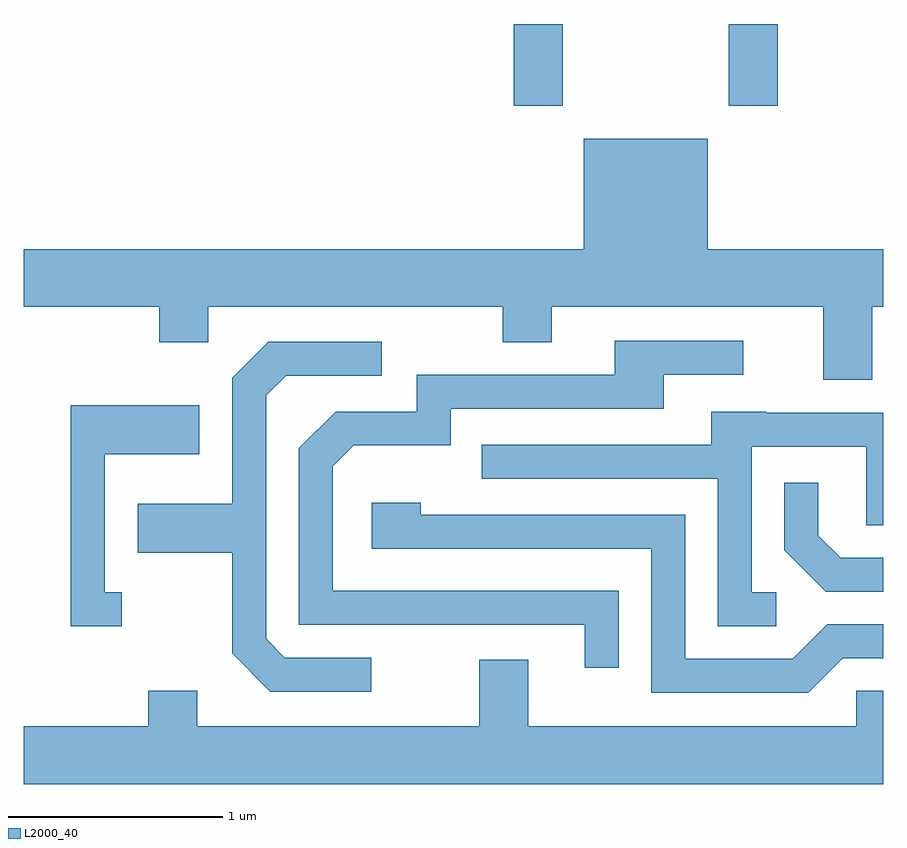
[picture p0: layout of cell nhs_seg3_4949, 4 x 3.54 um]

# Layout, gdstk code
import gdstk
lib = gdstk.Library(unit=1e-6, precision=1e-09)
def R(c, l, rs):  # rectangles x0, y0, x1, y1
    for r in rs: c.add(gdstk.rectangle(r[:2], r[2:], *l))
def P(c, l, *ps):  # polygons
    for p in ps: c.add(gdstk.Polygon(p, *l))
L2000_40 = (2000, 40)

nhs_seg3_4949 = lib.new_cell('nhs_seg3_4949')
R(nhs_seg3_4949, L2000_40, [(331.891,1233.511,332.119,1233.892), (332.891,1233.511,333.119,1233.892)])
P(nhs_seg3_4949, L2000_40, [(333.559,1232.576),(333.611,1232.576),(333.611,1232.844),(332.794,1232.844),(332.794,1233.359),(332.216,1233.359),(332.216,1232.844),(329.611,1232.844),(329.611,1232.576),(330.241,1232.576),(330.241,1232.411),(330.469,1232.411),(330.469,1232.576),(331.841,1232.576),(331.841,1232.411),(332.069,1232.411),(332.069,1232.576),(333.331,1232.576),(333.331,1232.236),(333.559,1232.236)],
  [(332.379,1231.254),(331.049,1231.254),(331.049,1231.834),(331.147,1231.931),(331.599,1231.931),(331.599,1232.101),(332.589,1232.101),(332.589,1232.261),(332.958,1232.261),(332.958,1232.419),(332.361,1232.419),(332.361,1232.259),(331.441,1232.259),(331.441,1232.089),(331.064,1232.089),(330.891,1231.917),(330.891,1231.096),(332.221,1231.096),(332.221,1230.898),(332.379,1230.898)],
  [(331.228,1230.944),(330.827,1230.944),(330.739,1231.032),(330.739,1232.164),(330.832,1232.256),(331.278,1232.256),(331.278,1232.414),(330.749,1232.414),(330.581,1232.247),(330.581,1231.659),(330.141,1231.659),(330.141,1231.431),(330.581,1231.431),(330.581,1230.964),(330.759,1230.786),(331.228,1230.786)],
  [(330.068,1231.249),(329.989,1231.249),(329.989,1231.891),(330.429,1231.891),(330.429,1232.119),(329.831,1232.119),(329.831,1231.091),(330.068,1231.091)],
  [(333.113,1231.249),(332.999,1231.249),(332.999,1231.926),(333.531,1231.926),(333.531,1231.561),(333.611,1231.561),(333.611,1232.084),(333.065,1232.084),(333.065,1232.089),(332.811,1232.089),(332.811,1231.934),(331.743,1231.934),(331.743,1231.776),(332.841,1231.776),(332.841,1231.091),(333.113,1231.091)],
  [(333.611,1231.409),(333.412,1231.409),(333.309,1231.512),(333.309,1231.758),(333.151,1231.758),(333.151,1231.444),(333.344,1231.251),(333.611,1231.251)],
  [(333.422,1230.941),(333.611,1230.941),(333.611,1231.099),(333.349,1231.099),(333.189,1230.939),(332.689,1230.939),(332.689,1231.609),(331.459,1231.609),(331.459,1231.664),(331.231,1231.664),(331.231,1231.451),(332.531,1231.451),(332.531,1230.781),(333.262,1230.781)],
  [(333.611,1230.789),(333.486,1230.789),(333.486,1230.624),(331.959,1230.624),(331.959,1230.934),(331.731,1230.934),(331.731,1230.624),(330.419,1230.624),(330.419,1230.789),(330.191,1230.789),(330.191,1230.624),(329.611,1230.624),(329.611,1230.356),(333.611,1230.356)])

lib.write_gds('nhs_seg3_4949.gds')
